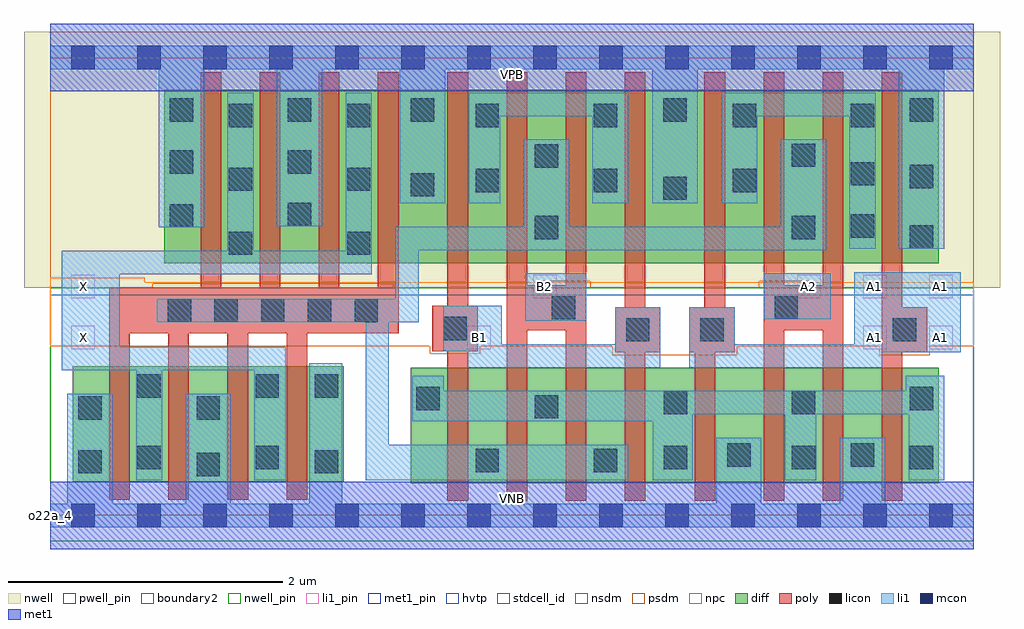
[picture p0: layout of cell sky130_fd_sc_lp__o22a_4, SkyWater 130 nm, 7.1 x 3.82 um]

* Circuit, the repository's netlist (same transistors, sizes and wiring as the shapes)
* Copyright 2020 The SkyWater PDK Authors
*
* Licensed under the Apache License, Version 2.0 (the "License");
* you may not use this file except in compliance with the License.
* You may obtain a copy of the License at
*
*     https://www.apache.org/licenses/LICENSE-2.0
*
* Unless required by applicable law or agreed to in writing, software
* distributed under the License is distributed on an "AS IS" BASIS,
* WITHOUT WARRANTIES OR CONDITIONS OF ANY KIND, either express or implied.
* See the License for the specific language governing permissions and
* limitations under the License.
*
* SPDX-License-Identifier: Apache-2.0

.SUBCKT sky130_fd_sc_lp__o22a_4 A1 A2 B1 B2 VGND VNB VPB VPWR X
*.PININFO A1:I A2:I B1:I B2:I VGND:I VNB:I VPB:I VPWR:I X:O
MMPA0 VPWR A1 sndA1 VPB sky130_fd_pr__pfet_01v8_hvt m=2 w=1.26U l=0.15U mult=1
+ sa=0.265 sb=0.265 sd=0.28 area=0.063 perim=1.14
MMPA1 sndA1 A2 y VPB sky130_fd_pr__pfet_01v8_hvt m=2 w=1.26U l=0.15U mult=1 sa=0.265
+ sb=0.265 sd=0.28 area=0.063 perim=1.14
MMPB0 VPWR B1 sndB1 VPB sky130_fd_pr__pfet_01v8_hvt m=2 w=1.26U l=0.15U mult=1
+ sa=0.265 sb=0.265 sd=0.28 area=0.063 perim=1.14
MMPB1 sndB1 B2 y VPB sky130_fd_pr__pfet_01v8_hvt m=2 w=1.26U l=0.15U mult=1 sa=0.265
+ sb=0.265 sd=0.28 area=0.063 perim=1.14
MMIPX X y VPWR VPB sky130_fd_pr__pfet_01v8_hvt m=4 w=1.26U l=0.15U mult=1 sa=0.265
+ sb=0.265 sd=0.28 area=0.063 perim=1.14
MMNA0 pndA A1 VGND VNB sky130_fd_pr__nfet_01v8 m=2 w=0.84U l=0.15U mult=1 sa=0.265
+ sb=0.265 sd=0.28 area=0.063 perim=1.14
MMNA1 pndA A2 VGND VNB sky130_fd_pr__nfet_01v8 m=2 w=0.84U l=0.15U mult=1 sa=0.265
+ sb=0.265 sd=0.28 area=0.063 perim=1.14
MMNB0 y B1 pndA VNB sky130_fd_pr__nfet_01v8 m=2 w=0.84U l=0.15U mult=1 sa=0.265
+ sb=0.265 sd=0.28 area=0.063 perim=1.14
MMNB1 y B2 pndA VNB sky130_fd_pr__nfet_01v8 m=2 w=0.84U l=0.15U mult=1 sa=0.265
+ sb=0.265 sd=0.28 area=0.063 perim=1.14
MMINX X y VGND VNB sky130_fd_pr__nfet_01v8 m=4 w=0.84U l=0.15U mult=1 sa=0.265
+ sb=0.265 sd=0.28 area=0.063 perim=1.14
.ENDS sky130_fd_sc_lp__o22a_4

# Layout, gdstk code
import gdstk
lib = gdstk.Library(unit=1e-6, precision=1e-09)
def R(c, l, rs):  # rectangles x0, y0, x1, y1
    for r in rs: c.add(gdstk.rectangle(r[:2], r[2:], *l))
def A(c, l, x, y, w, h, nx, ny, dx, dy):  # array of equal rectangles
    R(c, l, [(x+i*dx, y+j*dy, x+i*dx+w, y+j*dy+h) for i in range(nx) for j in range(ny)])
def P(c, l, *ps):  # polygons
    for p in ps: c.add(gdstk.Polygon(p, *l))
nwell_pin = (64, 16)
nwell = (64, 20)
diff = (65, 20)
poly = (66, 20)
licon = (66, 44)
li1_pin = (67, 16)
li1 = (67, 20)
mcon = (67, 44)
met1_pin = (68, 16)
met1 = (68, 20)
hvtp = (78, 44)
stdcell_id = (81, 4)
nsdm = (93, 44)
psdm = (94, 20)
npc = (95, 20)
pwell_pin = (122, 16)
boundary2 = (236, 0)

sky130_fd_sc_lp__o22a_4 = lib.new_cell('sky130_fd_sc_lp__o22a_4')
R(sky130_fd_sc_lp__o22a_4, nwell_pin, [(0,3.085,6.72,3.33)])
R(sky130_fd_sc_lp__o22a_4, nwell, [(-0.19,1.655,6.91,3.52)])
R(sky130_fd_sc_lp__o22a_4, diff, [(2.625,0.235,6.465,1.075), (0.165,0.245,2.135,1.085), (0.83,1.835,6.465,3.095)])
P(sky130_fd_sc_lp__o22a_4, poly, [(2.535,3.225),(2.385,3.225),(2.385,1.655),(2.105,1.655),(2.105,3.225),(1.955,3.225),(1.955,1.655),(1.675,1.655),(1.675,3.225),(1.525,3.225),(1.525,1.655),(1.245,1.655),(1.245,3.225),(1.095,3.225),(1.095,1.655),(0.43,1.655),(0.43,0.115),(0.58,0.115),(0.58,1.325),(0.86,1.325),(0.86,0.115),(1.01,0.115),(1.01,1.325),(1.29,1.325),(1.29,0.115),(1.44,0.115),(1.44,1.325),(1.72,1.325),(1.72,0.115),(1.87,0.115),(1.87,1.325),(2.535,1.325)],
  [(3.11,1.525),(3.04,1.525),(3.04,3.225),(2.89,3.225),(2.89,1.525),(2.78,1.525),(2.78,1.195),(2.89,1.195),(2.89,0.105),(3.04,0.105),(3.04,1.195),(3.11,1.195)],
  [(3.9,3.225),(3.75,3.225),(3.75,1.675),(3.47,1.675),(3.47,3.225),(3.32,3.225),(3.32,0.105),(3.47,0.105),(3.47,1.345),(3.75,1.345),(3.75,0.105),(3.9,0.105)],
  [(4.44,1.515),(4.33,1.515),(4.33,3.225),(4.18,3.225),(4.18,1.515),(4.11,1.515),(4.11,1.185),(4.18,1.185),(4.18,0.105),(4.33,0.105),(4.33,1.185),(4.44,1.185)],
  [(4.98,1.515),(4.91,1.515),(4.91,3.225),(4.76,3.225),(4.76,1.515),(4.65,1.515),(4.65,1.185),(4.69,1.185),(4.69,0.105),(4.84,0.105),(4.84,1.185),(4.98,1.185)],
  [(5.77,3.225),(5.62,3.225),(5.62,1.675),(5.34,1.675),(5.34,3.225),(5.19,3.225),(5.19,0.105),(5.34,0.105),(5.34,1.345),(5.62,1.345),(5.62,0.105),(5.77,0.105)],
  [(6.38,1.515),(6.2,1.515),(6.2,3.225),(6.05,3.225),(6.05,0.105),(6.2,0.105),(6.2,1.185),(6.38,1.185)])
A(sky130_fd_sc_lp__o22a_4, licon, 0.855, 1.405, 0.17, 0.17, 5, 1, 0.34, 0)
A(sky130_fd_sc_lp__o22a_4, licon, 1.3, 1.895, 0.17, 0.17, 1, 3, 0, 0.465)
A(sky130_fd_sc_lp__o22a_4, licon, 2.16, 1.895, 0.17, 0.17, 1, 3, 0, 0.465)
A(sky130_fd_sc_lp__o22a_4, licon, 1.73, 2.105, 0.17, 0.17, 1, 3, 0, 0.38)
R(sky130_fd_sc_lp__o22a_4, licon, [(1.065,0.285,1.235,0.455), (0.205,0.305,0.375,0.475), (1.925,0.305,2.095,0.475), (3.095,0.315,3.265,0.485), (3.955,0.315,4.125,0.485), (0.635,0.335,0.805,0.505), (1.495,0.335,1.665,0.505), (4.465,0.335,4.635,0.505), (5.395,0.335,5.565,0.505), (6.255,0.335,6.425,0.505), (4.925,0.355,5.095,0.525), (5.825,0.355,5.995,0.525), (0.205,0.695,0.375,0.865), (1.065,0.695,1.235,0.865), (3.525,0.705,3.695,0.875), (4.465,0.735,4.635,0.905), (5.395,0.735,5.565,0.905), (2.665,0.765,2.835,0.935), (6.255,0.765,6.425,0.935), (0.635,0.855,0.805,1.025), (1.495,0.855,1.665,1.025), (1.925,0.855,2.095,1.025), (4.19,1.265,4.36,1.435), (4.73,1.265,4.9,1.435), (6.13,1.265,6.3,1.435), (2.86,1.275,3.03,1.445), (3.65,1.425,3.82,1.595), (5.27,1.425,5.44,1.595), (6.255,1.94,6.425,2.11), (3.525,2.01,3.695,2.18), (5.395,2.01,5.565,2.18), (5.825,2.02,5.995,2.19), (0.87,2.095,1.04,2.265), (4.46,2.295,4.63,2.465), (2.625,2.32,2.795,2.49), (3.095,2.35,3.265,2.52), (3.955,2.35,4.125,2.52), (4.965,2.35,5.135,2.52), (6.255,2.38,6.425,2.55), (5.825,2.4,5.995,2.57), (0.87,2.485,1.04,2.655), (3.525,2.53,3.695,2.7), (5.395,2.535,5.565,2.705), (3.095,2.825,3.265,2.995), (3.955,2.825,4.125,2.995), (4.965,2.825,5.135,2.995), (5.825,2.825,5.995,2.995), (0.87,2.865,1.04,3.035), (2.625,2.865,2.795,3.035), (4.46,2.865,4.63,3.035), (6.255,2.865,6.425,3.035)])
A(sky130_fd_sc_lp__o22a_4, li1_pin, 0.155, 1.21, 0.17, 0.17, 3, 1, 2.88, 0)
A(sky130_fd_sc_lp__o22a_4, li1_pin, 5.435, 1.58, 0.17, 0.17, 3, 1, 0.48, 0)
R(sky130_fd_sc_lp__o22a_4, li1_pin, [(6.395,1.21,6.565,1.38), (0.155,1.58,0.325,1.75), (3.515,1.58,3.685,1.75)])
R(sky130_fd_sc_lp__o22a_4, li1, [(3.455,1.415,3.9,1.76), (5.19,1.425,5.68,1.76)])
P(sky130_fd_sc_lp__o22a_4, li1, [(2.34,3.075),(2.15,3.075),(2.15,1.925),(1.48,1.925),(1.48,3.075),(1.29,3.075),(1.29,1.925),(0.085,1.925),(0.085,1.055),(0.625,1.055),(0.625,0.255),(0.815,0.255),(0.815,1.055),(1.485,1.055),(1.485,0.255),(1.715,0.255),(1.715,1.225),(0.505,1.225),(0.505,1.755),(2.34,1.755)],
  [(6.505,1.015),(6.225,1.015),(6.225,0.905),(2.865,0.905),(2.865,1.015),(2.635,1.015),(2.635,0.685),(4.385,0.685),(4.385,0.255),(4.675,0.255),(4.675,0.735),(5.345,0.735),(5.345,0.255),(5.575,0.255),(5.575,0.735),(6.245,0.735),(6.245,0.255),(6.505,0.255)],
  [(4.44,1.515),(4.11,1.515),(4.11,1.245),(3.285,1.245),(3.285,1.525),(2.86,1.525),(2.86,1.195),(3.035,1.195),(3.035,1.075),(4.44,1.075)],
  [(6.72,0.085),(6.075,0.085),(6.075,0.565),(5.745,0.565),(5.745,0.085),(5.175,0.085),(5.175,0.565),(4.845,0.565),(4.845,0.085),(2.125,0.085),(2.125,1.105),(1.885,1.105),(1.885,0.085),(1.315,0.085),(1.315,0.885),(0.985,0.885),(0.985,0.085),(0.455,0.085),(0.455,0.885),(0.125,0.885),(0.125,0.085),(0,0.085),(0,-0.085),(6.72,-0.085)],
  [(6.72,3.415),(0,3.415),(0,3.245),(0.79,3.245),(0.79,2.095),(1.12,2.095),(1.12,3.245),(1.65,3.245),(1.65,2.105),(1.98,2.105),(1.98,3.245),(2.545,3.245),(2.545,2.27),(2.875,2.27),(2.875,3.245),(4.38,3.245),(4.38,2.27),(4.71,2.27),(4.71,3.245),(6.175,3.245),(6.175,1.94),(6.505,1.94),(6.505,3.245),(6.72,3.245)],
  [(6.005,3.075),(4.885,3.075),(4.885,2.27),(5.145,2.27),(5.145,2.905),(5.815,2.905),(5.815,1.94),(6.005,1.94)],
  [(5.645,2.735),(5.315,2.735),(5.315,2.1),(3.775,2.1),(3.775,2.735),(3.445,2.735),(3.445,2.1),(2.51,2.1),(2.51,1.575),(0.775,1.575),(0.775,1.405),(2.295,1.405),(2.295,0.255),(4.205,0.255),(4.205,0.515),(2.465,0.515),(2.465,1.405),(2.68,1.405),(2.68,1.93),(5.645,1.93)],
  [(6.625,1.77),(5.85,1.77),(5.85,1.245),(4.98,1.245),(4.98,1.515),(4.65,1.515),(4.65,1.075),(6.055,1.075),(6.055,1.185),(6.625,1.185)],
  [(4.205,3.075),(3.045,3.075),(3.045,2.27),(3.275,2.27),(3.275,2.905),(3.945,2.905),(3.945,2.27),(4.205,2.27)])
A(sky130_fd_sc_lp__o22a_4, mcon, 0.155, -0.085, 0.17, 0.17, 14, 2, 0.48, 3.33)
R(sky130_fd_sc_lp__o22a_4, met1_pin, [(0,0,6.72,0.245), (0,3.085,6.72,3.33)])
R(sky130_fd_sc_lp__o22a_4, met1, [(0,-0.245,6.72,0.245), (0,3.085,6.72,3.575)])
R(sky130_fd_sc_lp__o22a_4, hvtp, [(0,1.6,6.72,3.33)])
R(sky130_fd_sc_lp__o22a_4, stdcell_id, [(0,0,6.72,3.33)])
R(sky130_fd_sc_lp__o22a_4, nsdm, [(0,-0.19,6.72,1.655)])
P(sky130_fd_sc_lp__o22a_4, psdm, [(6.72,3.52),(0,3.52),(0,1.655),(0.745,1.655),(0.745,1.685),(2.495,1.685),(2.495,1.655),(3.54,1.655),(3.54,1.705),(3.93,1.705),(3.93,1.655),(5.16,1.655),(5.16,1.705),(5.55,1.705),(5.55,1.655),(6.72,1.655)])
P(sky130_fd_sc_lp__o22a_4, npc, [(6.72,1.695),(0.69,1.695),(0.69,1.73),(0,1.73),(0,1.23),(2.76,1.23),(2.76,1.175),(3.13,1.175),(3.13,1.23),(4.09,1.23),(4.09,1.165),(5,1.165),(5,1.23),(6.03,1.23),(6.03,1.165),(6.4,1.165),(6.4,1.23),(6.72,1.23)])
R(sky130_fd_sc_lp__o22a_4, pwell_pin, [(0,0,6.72,0.245)])
R(sky130_fd_sc_lp__o22a_4, boundary2, [(0,0,6.72,3.33)])
sky130_fd_sc_lp__o22a_4.add(gdstk.Label('VNB', (3.36,0.123), layer=64, texttype=59))
sky130_fd_sc_lp__o22a_4.add(gdstk.Label('VPB', (3.36,3.208), layer=64, texttype=5))
sky130_fd_sc_lp__o22a_4.add(gdstk.Label('o22a_4', (0,0), layer=83, texttype=44))
sky130_fd_sc_lp__o22a_4.add(gdstk.Label('VPWR', (3.36,3.208), layer=68, texttype=5))
sky130_fd_sc_lp__o22a_4.add(gdstk.Label('VGND', (3.36,0.123), layer=68, texttype=5))
sky130_fd_sc_lp__o22a_4.add(gdstk.Label('A2', (5.52,1.665), layer=67, texttype=5))
sky130_fd_sc_lp__o22a_4.add(gdstk.Label('B2', (3.6,1.665), layer=67, texttype=5))
sky130_fd_sc_lp__o22a_4.add(gdstk.Label('X', (0.24,1.295), layer=67, texttype=5))
sky130_fd_sc_lp__o22a_4.add(gdstk.Label('X', (0.24,1.665), layer=67, texttype=5))
sky130_fd_sc_lp__o22a_4.add(gdstk.Label('A1', (6,1.295), layer=67, texttype=5))
sky130_fd_sc_lp__o22a_4.add(gdstk.Label('A1', (6,1.665), layer=67, texttype=5))
sky130_fd_sc_lp__o22a_4.add(gdstk.Label('A1', (6.48,1.295), layer=67, texttype=5))
sky130_fd_sc_lp__o22a_4.add(gdstk.Label('A1', (6.48,1.665), layer=67, texttype=5))
sky130_fd_sc_lp__o22a_4.add(gdstk.Label('B1', (3.12,1.295), layer=67, texttype=5))

lib.write_gds('sky130_fd_sc_lp__o22a_4.gds')
